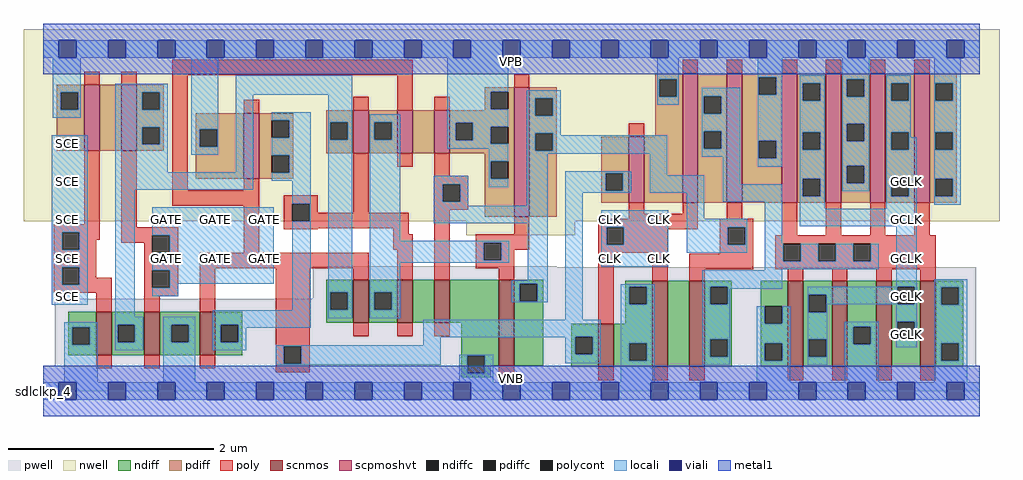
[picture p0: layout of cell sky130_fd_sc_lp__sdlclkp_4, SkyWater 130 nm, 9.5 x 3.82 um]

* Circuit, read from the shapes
.subckt sky130_fd_sc_lp__sdlclkp_4 CLK GATE SCE VGND VNB VPB VPWR GCLK
XM1 n1 SCE VGND VNB sky130_fd_pr__nfet_01v8 w=0.42 l=0.15
XM2 VGND GATE n1 VNB sky130_fd_pr__nfet_01v8 w=0.42 l=0.15
XM3 n2 n3 VGND VNB sky130_fd_pr__nfet_01v8 w=0.42 l=0.15
XM4 n4 n3 n1 VNB sky130_fd_pr__nfet_01v8 w=0.42 l=0.15
XM5 n5 n2 n4 VNB sky130_fd_pr__nfet_01v8 w=0.42 l=0.15
XM6 VGND n6 n5 VNB sky130_fd_pr__nfet_01v8 w=0.42 l=0.15
XM7 n6 n4 VGND VNB sky130_fd_pr__nfet_01v8 w=0.84 l=0.15
XM8 VGND CLK n3 VNB sky130_fd_pr__nfet_01v8 w=0.42 l=0.15
XM9 n7 CLK VGND VNB sky130_fd_pr__nfet_01v8 w=0.84 l=0.15
XM10 n8 n6 n7 VNB sky130_fd_pr__nfet_01v8 w=0.84 l=0.15
XM11 GCLK n8 VGND VNB sky130_fd_pr__nfet_01v8 w=0.84 l=0.15 m=4
XM12 n9 SCE VPWR VPB sky130_fd_pr__pfet_01v8_hvt w=0.64 l=0.15
XM13 n1 GATE n9 VPB sky130_fd_pr__pfet_01v8_hvt w=0.64 l=0.15
XM14 n2 n3 VPWR VPB sky130_fd_pr__pfet_01v8_hvt w=0.64 l=0.15
XM15 n4 n2 n1 VPB sky130_fd_pr__pfet_01v8_hvt w=0.42 l=0.15
XM16 n10 n3 n4 VPB sky130_fd_pr__pfet_01v8_hvt w=0.42 l=0.15
XM17 VPWR n6 n10 VPB sky130_fd_pr__pfet_01v8_hvt w=0.42 l=0.15
XM18 n6 n4 VPWR VPB sky130_fd_pr__pfet_01v8_hvt w=1.26 l=0.15
XM19 VPWR CLK n3 VPB sky130_fd_pr__pfet_01v8_hvt w=0.64 l=0.15
XM20 n8 CLK VPWR VPB sky130_fd_pr__pfet_01v8_hvt w=1.26 l=0.15
XM21 VPWR n6 n8 VPB sky130_fd_pr__pfet_01v8_hvt w=1.26 l=0.15
XM22 GCLK n8 VPWR VPB sky130_fd_pr__pfet_01v8_hvt w=1.26 l=0.15 m=4
.ends

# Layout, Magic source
magic
tech sky130A
magscale 1 2
<< nwell >>
rect -38 331 1862 704
rect 824 303 1036 331
<< pwell >>
rect 525 241 1000 243
rect 525 180 1817 241
rect 23 49 1817 180
rect 0 0 1824 49
<< scnmos >>
rect 104 70 134 154
rect 197 70 227 154
rect 305 70 335 154
rect 604 133 634 217
rect 690 133 720 217
rect 762 133 792 217
rect 887 49 917 217
rect 1081 47 1111 131
rect 1186 47 1216 215
rect 1258 47 1288 215
rect 1450 47 1480 215
rect 1536 47 1566 215
rect 1622 47 1652 215
rect 1708 47 1738 215
<< scpmoshvt >>
rect 80 468 110 596
rect 152 468 182 596
rect 391 413 421 541
rect 604 463 634 547
rect 690 463 720 547
rect 762 463 792 547
rect 917 339 947 591
rect 1140 367 1170 495
rect 1245 367 1275 619
rect 1331 367 1361 619
rect 1438 367 1468 619
rect 1524 367 1554 619
rect 1610 367 1640 619
rect 1696 367 1726 619
<< ndiff >>
rect 49 124 104 154
rect 49 90 57 124
rect 91 90 104 124
rect 49 70 104 90
rect 134 129 197 154
rect 134 95 145 129
rect 179 95 197 129
rect 134 70 197 95
rect 227 129 305 154
rect 227 95 250 129
rect 284 95 305 129
rect 227 70 305 95
rect 335 129 388 154
rect 335 95 346 129
rect 380 95 388 129
rect 335 70 388 95
rect 551 192 604 217
rect 551 158 559 192
rect 593 158 604 192
rect 551 133 604 158
rect 634 192 690 217
rect 634 158 645 192
rect 679 158 690 192
rect 634 133 690 158
rect 720 133 762 217
rect 792 133 887 217
rect 814 69 887 133
rect 814 35 826 69
rect 860 49 887 69
rect 917 209 974 217
rect 917 175 928 209
rect 962 175 974 209
rect 917 49 974 175
rect 1133 203 1186 215
rect 1133 169 1141 203
rect 1175 169 1186 203
rect 1133 131 1186 169
rect 1028 106 1081 131
rect 1028 72 1036 106
rect 1070 72 1081 106
rect 860 35 872 49
rect 814 27 872 35
rect 1028 47 1081 72
rect 1111 93 1186 131
rect 1111 59 1141 93
rect 1175 59 1186 93
rect 1111 47 1186 59
rect 1216 47 1258 215
rect 1288 203 1341 215
rect 1288 169 1299 203
rect 1333 169 1341 203
rect 1288 101 1341 169
rect 1288 67 1299 101
rect 1333 67 1341 101
rect 1288 47 1341 67
rect 1397 165 1450 215
rect 1397 131 1405 165
rect 1439 131 1450 165
rect 1397 93 1450 131
rect 1397 59 1405 93
rect 1439 59 1450 93
rect 1397 47 1450 59
rect 1480 187 1536 215
rect 1480 153 1491 187
rect 1525 153 1536 187
rect 1480 101 1536 153
rect 1480 67 1491 101
rect 1525 67 1536 101
rect 1480 47 1536 67
rect 1566 125 1622 215
rect 1566 91 1577 125
rect 1611 91 1622 125
rect 1566 47 1622 91
rect 1652 203 1708 215
rect 1652 169 1663 203
rect 1697 169 1708 203
rect 1652 135 1708 169
rect 1652 101 1663 135
rect 1697 101 1708 135
rect 1652 47 1708 101
rect 1738 202 1791 215
rect 1738 168 1749 202
rect 1783 168 1791 202
rect 1738 93 1791 168
rect 1738 59 1749 93
rect 1783 59 1791 93
rect 1738 47 1791 59
<< pdiff >>
rect 27 582 80 596
rect 27 548 35 582
rect 69 548 80 582
rect 27 468 80 548
rect 110 468 152 596
rect 182 582 235 596
rect 182 548 193 582
rect 227 548 235 582
rect 182 514 235 548
rect 182 480 193 514
rect 227 480 235 514
rect 182 468 235 480
rect 1192 607 1245 619
rect 860 583 917 591
rect 860 549 872 583
rect 906 549 917 583
rect 860 547 917 549
rect 297 510 391 541
rect 297 476 305 510
rect 339 476 391 510
rect 297 413 391 476
rect 421 527 487 541
rect 421 493 445 527
rect 479 493 487 527
rect 421 459 487 493
rect 551 523 604 547
rect 551 489 559 523
rect 593 489 604 523
rect 551 463 604 489
rect 634 523 690 547
rect 634 489 645 523
rect 679 489 690 523
rect 634 463 690 489
rect 720 463 762 547
rect 792 522 917 547
rect 792 488 803 522
rect 837 515 917 522
rect 837 488 872 515
rect 792 481 872 488
rect 906 481 917 515
rect 792 463 917 481
rect 421 425 445 459
rect 479 425 487 459
rect 421 413 487 425
rect 860 447 917 463
rect 860 413 872 447
rect 906 413 917 447
rect 860 339 917 413
rect 947 570 1000 591
rect 947 536 958 570
rect 992 536 1000 570
rect 947 502 1000 536
rect 1192 573 1200 607
rect 1234 573 1245 607
rect 947 468 958 502
rect 992 468 1000 502
rect 1192 495 1245 573
rect 947 339 1000 468
rect 1087 424 1140 495
rect 1087 390 1095 424
rect 1129 390 1140 424
rect 1087 367 1140 390
rect 1170 367 1245 495
rect 1275 574 1331 619
rect 1275 540 1286 574
rect 1320 540 1331 574
rect 1275 506 1331 540
rect 1275 472 1286 506
rect 1320 472 1331 506
rect 1275 367 1331 472
rect 1361 611 1438 619
rect 1361 577 1393 611
rect 1427 577 1438 611
rect 1361 487 1438 577
rect 1361 453 1393 487
rect 1427 453 1438 487
rect 1361 367 1438 453
rect 1468 599 1524 619
rect 1468 565 1479 599
rect 1513 565 1524 599
rect 1468 504 1524 565
rect 1468 470 1479 504
rect 1513 470 1524 504
rect 1468 413 1524 470
rect 1468 379 1479 413
rect 1513 379 1524 413
rect 1468 367 1524 379
rect 1554 607 1610 619
rect 1554 573 1565 607
rect 1599 573 1610 607
rect 1554 520 1610 573
rect 1554 486 1565 520
rect 1599 486 1610 520
rect 1554 439 1610 486
rect 1554 405 1565 439
rect 1599 405 1610 439
rect 1554 367 1610 405
rect 1640 599 1696 619
rect 1640 565 1651 599
rect 1685 565 1696 599
rect 1640 504 1696 565
rect 1640 470 1651 504
rect 1685 470 1696 504
rect 1640 413 1696 470
rect 1640 379 1651 413
rect 1685 379 1696 413
rect 1640 367 1696 379
rect 1726 599 1779 619
rect 1726 565 1737 599
rect 1771 565 1779 599
rect 1726 504 1779 565
rect 1726 470 1737 504
rect 1771 470 1779 504
rect 1726 413 1779 470
rect 1726 379 1737 413
rect 1771 379 1779 413
rect 1726 367 1779 379
<< ndiffc >>
rect 57 90 91 124
rect 145 95 179 129
rect 250 95 284 129
rect 346 95 380 129
rect 559 158 593 192
rect 645 158 679 192
rect 826 35 860 69
rect 928 175 962 209
rect 1141 169 1175 203
rect 1036 72 1070 106
rect 1141 59 1175 93
rect 1299 169 1333 203
rect 1299 67 1333 101
rect 1405 131 1439 165
rect 1405 59 1439 93
rect 1491 153 1525 187
rect 1491 67 1525 101
rect 1577 91 1611 125
rect 1663 169 1697 203
rect 1663 101 1697 135
rect 1749 168 1783 202
rect 1749 59 1783 93
<< pdiffc >>
rect 35 548 69 582
rect 193 548 227 582
rect 193 480 227 514
rect 872 549 906 583
rect 305 476 339 510
rect 445 493 479 527
rect 559 489 593 523
rect 645 489 679 523
rect 803 488 837 522
rect 872 481 906 515
rect 445 425 479 459
rect 872 413 906 447
rect 958 536 992 570
rect 1200 573 1234 607
rect 958 468 992 502
rect 1095 390 1129 424
rect 1286 540 1320 574
rect 1286 472 1320 506
rect 1393 577 1427 611
rect 1393 453 1427 487
rect 1479 565 1513 599
rect 1479 470 1513 504
rect 1479 379 1513 413
rect 1565 573 1599 607
rect 1565 486 1599 520
rect 1565 405 1599 439
rect 1651 565 1685 599
rect 1651 470 1685 504
rect 1651 379 1685 413
rect 1737 565 1771 599
rect 1737 470 1771 504
rect 1737 379 1771 413
<< poly >>
rect 80 596 110 622
rect 152 596 182 622
rect 252 615 720 645
rect 1245 619 1275 645
rect 1331 619 1361 645
rect 1438 619 1468 645
rect 1524 619 1554 645
rect 1610 619 1640 645
rect 1696 619 1726 645
rect 80 325 110 468
rect 21 309 110 325
rect 21 275 37 309
rect 71 295 110 309
rect 152 319 182 468
rect 252 391 282 615
rect 391 541 421 567
rect 604 547 634 573
rect 690 547 720 615
rect 917 591 947 617
rect 762 547 792 573
rect 391 391 421 413
rect 252 361 421 391
rect 152 303 263 319
rect 71 275 104 295
rect 152 289 213 303
rect 21 241 104 275
rect 21 207 37 241
rect 71 221 104 241
rect 197 269 213 289
rect 247 269 263 303
rect 391 269 421 361
rect 469 365 535 381
rect 469 331 485 365
rect 519 347 535 365
rect 604 347 634 463
rect 690 437 720 463
rect 762 419 792 463
rect 762 403 828 419
rect 762 369 778 403
rect 812 369 828 403
rect 762 353 828 369
rect 519 331 712 347
rect 469 317 712 331
rect 469 315 535 317
rect 682 305 712 317
rect 682 275 720 305
rect 197 235 263 269
rect 71 207 134 221
rect 21 191 134 207
rect 104 154 134 191
rect 197 201 213 235
rect 247 201 263 235
rect 197 185 263 201
rect 305 239 634 269
rect 197 154 227 185
rect 305 154 335 239
rect 453 87 519 239
rect 604 217 634 239
rect 690 217 720 275
rect 762 217 792 353
rect 1140 495 1170 521
rect 1140 345 1170 367
rect 1245 345 1275 367
rect 917 305 947 339
rect 1140 335 1275 345
rect 1331 335 1361 367
rect 842 289 947 305
rect 842 255 858 289
rect 892 275 947 289
rect 1081 319 1275 335
rect 1081 285 1097 319
rect 1131 315 1275 319
rect 1317 319 1383 335
rect 1131 285 1216 315
rect 892 255 917 275
rect 842 239 917 255
rect 887 217 917 239
rect 1081 269 1216 285
rect 604 107 634 133
rect 690 107 720 133
rect 762 107 792 133
rect 104 44 134 70
rect 197 44 227 70
rect 305 44 335 70
rect 453 53 469 87
rect 503 53 519 87
rect 453 37 519 53
rect 1081 131 1111 269
rect 1186 215 1216 269
rect 1317 285 1333 319
rect 1367 285 1383 319
rect 1438 303 1468 367
rect 1524 303 1554 367
rect 1610 303 1640 367
rect 1696 303 1726 367
rect 1317 267 1383 285
rect 1258 237 1383 267
rect 1425 287 1738 303
rect 1425 253 1441 287
rect 1475 253 1509 287
rect 1543 253 1577 287
rect 1611 253 1738 287
rect 1425 237 1738 253
rect 1258 215 1288 237
rect 1450 215 1480 237
rect 1536 215 1566 237
rect 1622 215 1652 237
rect 1708 215 1738 237
rect 887 23 917 49
rect 1081 21 1111 47
rect 1186 21 1216 47
rect 1258 21 1288 47
rect 1450 21 1480 47
rect 1536 21 1566 47
rect 1622 21 1652 47
rect 1708 21 1738 47
<< polycont >>
rect 37 275 71 309
rect 37 207 71 241
rect 213 269 247 303
rect 485 331 519 365
rect 778 369 812 403
rect 213 201 247 235
rect 858 255 892 289
rect 1097 285 1131 319
rect 469 53 503 87
rect 1333 285 1367 319
rect 1441 253 1475 287
rect 1509 253 1543 287
rect 1577 253 1611 287
<< locali >>
rect 0 649 31 683
rect 65 649 127 683
rect 161 649 223 683
rect 257 649 319 683
rect 353 649 415 683
rect 449 649 511 683
rect 545 649 607 683
rect 641 649 703 683
rect 737 649 799 683
rect 833 649 895 683
rect 929 649 991 683
rect 1025 649 1087 683
rect 1121 649 1183 683
rect 1217 649 1279 683
rect 1313 649 1375 683
rect 1409 649 1471 683
rect 1505 649 1567 683
rect 1601 649 1663 683
rect 1697 649 1759 683
rect 1793 649 1824 683
rect 19 582 73 649
rect 19 548 35 582
rect 69 548 73 582
rect 19 532 73 548
rect 141 582 243 598
rect 141 548 193 582
rect 227 548 243 582
rect 141 514 243 548
rect 17 309 87 498
rect 17 275 37 309
rect 71 275 87 309
rect 17 241 87 275
rect 17 207 37 241
rect 71 207 87 241
rect 17 168 87 207
rect 141 480 193 514
rect 227 480 243 514
rect 141 426 243 480
rect 289 510 341 649
rect 289 476 305 510
rect 339 476 341 510
rect 289 460 341 476
rect 375 577 602 615
rect 375 426 409 577
rect 141 392 409 426
rect 445 527 521 543
rect 479 493 521 527
rect 445 459 521 493
rect 479 425 521 459
rect 445 409 521 425
rect 141 145 179 392
rect 485 365 521 409
rect 213 303 449 358
rect 247 269 449 303
rect 213 235 449 269
rect 247 209 449 235
rect 519 331 521 365
rect 247 201 263 209
rect 213 185 263 201
rect 485 157 521 331
rect 41 124 107 134
rect 41 90 57 124
rect 91 90 107 124
rect 41 17 107 90
rect 141 129 195 145
rect 141 95 145 129
rect 179 95 195 129
rect 141 79 195 95
rect 234 129 296 145
rect 234 95 250 129
rect 284 95 296 129
rect 234 17 296 95
rect 330 129 521 157
rect 555 523 602 577
rect 787 583 906 649
rect 1196 607 1238 649
rect 787 549 872 583
rect 555 489 559 523
rect 593 489 602 523
rect 555 192 602 489
rect 555 158 559 192
rect 593 158 602 192
rect 555 142 602 158
rect 636 523 695 539
rect 636 489 645 523
rect 679 489 695 523
rect 636 293 695 489
rect 787 522 906 549
rect 787 488 803 522
rect 837 515 906 522
rect 837 488 872 515
rect 787 481 872 488
rect 787 472 906 481
rect 868 447 906 472
rect 761 403 828 419
rect 761 369 778 403
rect 812 369 828 403
rect 868 413 872 447
rect 868 397 906 413
rect 942 570 1008 586
rect 942 536 958 570
rect 992 536 1008 570
rect 1196 573 1200 607
rect 1234 573 1238 607
rect 1391 611 1439 649
rect 1196 557 1238 573
rect 1282 574 1357 590
rect 942 502 1008 536
rect 942 468 958 502
rect 992 498 1008 502
rect 1282 540 1286 574
rect 1320 540 1357 574
rect 1282 506 1357 540
rect 992 468 1215 498
rect 942 462 1215 468
rect 761 361 828 369
rect 942 361 983 462
rect 761 327 983 361
rect 636 289 908 293
rect 636 255 858 289
rect 892 255 908 289
rect 636 250 908 255
rect 636 192 695 250
rect 944 216 983 327
rect 636 158 645 192
rect 679 158 695 192
rect 912 209 983 216
rect 912 175 928 209
rect 962 175 983 209
rect 912 173 983 175
rect 1017 424 1145 428
rect 1017 390 1095 424
rect 1129 390 1145 424
rect 1017 386 1145 390
rect 1181 420 1215 462
rect 1282 472 1286 506
rect 1320 472 1357 506
rect 1282 456 1357 472
rect 1181 386 1287 420
rect 636 142 695 158
rect 1017 139 1051 386
rect 1087 319 1217 352
rect 1087 285 1097 319
rect 1131 285 1217 319
rect 1087 242 1217 285
rect 1253 335 1287 386
rect 1323 403 1357 456
rect 1391 577 1393 611
rect 1427 577 1439 611
rect 1391 487 1439 577
rect 1391 453 1393 487
rect 1427 453 1439 487
rect 1391 437 1439 453
rect 1473 599 1522 615
rect 1473 565 1479 599
rect 1513 565 1522 599
rect 1473 504 1522 565
rect 1473 470 1479 504
rect 1513 470 1522 504
rect 1473 413 1522 470
rect 1323 369 1439 403
rect 1253 319 1371 335
rect 1253 285 1333 319
rect 1367 285 1371 319
rect 1253 269 1371 285
rect 1405 287 1439 369
rect 1473 379 1479 413
rect 1513 379 1522 413
rect 1556 607 1608 649
rect 1556 573 1565 607
rect 1599 573 1608 607
rect 1556 520 1608 573
rect 1556 486 1565 520
rect 1599 486 1608 520
rect 1556 439 1608 486
rect 1556 405 1565 439
rect 1599 405 1608 439
rect 1556 389 1608 405
rect 1642 599 1689 615
rect 1642 565 1651 599
rect 1685 565 1689 599
rect 1642 504 1689 565
rect 1642 470 1651 504
rect 1685 494 1689 504
rect 1735 599 1787 649
rect 1735 565 1737 599
rect 1771 565 1787 599
rect 1735 504 1787 565
rect 1685 470 1701 494
rect 1642 413 1701 470
rect 1473 355 1522 379
rect 1642 379 1651 413
rect 1685 379 1701 413
rect 1642 355 1701 379
rect 1735 470 1737 504
rect 1771 470 1787 504
rect 1735 413 1787 470
rect 1735 379 1737 413
rect 1771 379 1787 413
rect 1735 363 1787 379
rect 1473 321 1701 355
rect 1405 253 1441 287
rect 1475 253 1509 287
rect 1543 253 1577 287
rect 1611 253 1627 287
rect 1405 237 1627 253
rect 1405 235 1439 237
rect 1125 203 1191 208
rect 1125 169 1141 203
rect 1175 169 1191 203
rect 330 95 346 129
rect 380 123 521 129
rect 380 95 396 123
rect 330 79 396 95
rect 740 106 1086 139
rect 740 105 1036 106
rect 740 89 774 105
rect 453 87 774 89
rect 453 53 469 87
rect 503 53 774 87
rect 1017 72 1036 105
rect 1070 72 1086 106
rect 453 51 774 53
rect 810 69 876 71
rect 810 35 826 69
rect 860 35 876 69
rect 1017 54 1086 72
rect 1125 93 1191 169
rect 1125 59 1141 93
rect 1175 59 1191 93
rect 810 17 876 35
rect 1125 17 1191 59
rect 1283 203 1439 235
rect 1661 203 1701 321
rect 1283 169 1299 203
rect 1333 199 1439 203
rect 1333 169 1337 199
rect 1283 101 1337 169
rect 1489 187 1663 203
rect 1283 67 1299 101
rect 1333 67 1337 101
rect 1283 51 1337 67
rect 1389 131 1405 165
rect 1439 131 1455 165
rect 1389 93 1455 131
rect 1389 59 1405 93
rect 1439 59 1455 93
rect 1389 17 1455 59
rect 1489 153 1491 187
rect 1525 169 1663 187
rect 1697 169 1701 203
rect 1525 153 1527 169
rect 1489 101 1527 153
rect 1661 135 1701 169
rect 1489 67 1491 101
rect 1525 67 1527 101
rect 1489 51 1527 67
rect 1561 125 1627 135
rect 1561 91 1577 125
rect 1611 91 1627 125
rect 1561 17 1627 91
rect 1661 101 1663 135
rect 1697 101 1701 135
rect 1661 85 1701 101
rect 1735 202 1799 218
rect 1735 168 1749 202
rect 1783 168 1799 202
rect 1735 93 1799 168
rect 1735 59 1749 93
rect 1783 59 1799 93
rect 1735 17 1799 59
rect 0 -17 31 17
rect 65 -17 127 17
rect 161 -17 223 17
rect 257 -17 319 17
rect 353 -17 415 17
rect 449 -17 511 17
rect 545 -17 607 17
rect 641 -17 703 17
rect 737 -17 799 17
rect 833 -17 895 17
rect 929 -17 991 17
rect 1025 -17 1087 17
rect 1121 -17 1183 17
rect 1217 -17 1279 17
rect 1313 -17 1375 17
rect 1409 -17 1471 17
rect 1505 -17 1567 17
rect 1601 -17 1663 17
rect 1697 -17 1759 17
rect 1793 -17 1824 17
<< viali >>
rect 31 649 65 683
rect 127 649 161 683
rect 223 649 257 683
rect 319 649 353 683
rect 415 649 449 683
rect 511 649 545 683
rect 607 649 641 683
rect 703 649 737 683
rect 799 649 833 683
rect 895 649 929 683
rect 991 649 1025 683
rect 1087 649 1121 683
rect 1183 649 1217 683
rect 1279 649 1313 683
rect 1375 649 1409 683
rect 1471 649 1505 683
rect 1567 649 1601 683
rect 1663 649 1697 683
rect 1759 649 1793 683
rect 31 -17 65 17
rect 127 -17 161 17
rect 223 -17 257 17
rect 319 -17 353 17
rect 415 -17 449 17
rect 511 -17 545 17
rect 607 -17 641 17
rect 703 -17 737 17
rect 799 -17 833 17
rect 895 -17 929 17
rect 991 -17 1025 17
rect 1087 -17 1121 17
rect 1183 -17 1217 17
rect 1279 -17 1313 17
rect 1375 -17 1409 17
rect 1471 -17 1505 17
rect 1567 -17 1601 17
rect 1663 -17 1697 17
rect 1759 -17 1793 17
<< metal1 >>
rect 0 683 1824 715
rect 0 649 31 683
rect 65 649 127 683
rect 161 649 223 683
rect 257 649 319 683
rect 353 649 415 683
rect 449 649 511 683
rect 545 649 607 683
rect 641 649 703 683
rect 737 649 799 683
rect 833 649 895 683
rect 929 649 991 683
rect 1025 649 1087 683
rect 1121 649 1183 683
rect 1217 649 1279 683
rect 1313 649 1375 683
rect 1409 649 1471 683
rect 1505 649 1567 683
rect 1601 649 1663 683
rect 1697 649 1759 683
rect 1793 649 1824 683
rect 0 617 1824 649
rect 0 17 1824 49
rect 0 -17 31 17
rect 65 -17 127 17
rect 161 -17 223 17
rect 257 -17 319 17
rect 353 -17 415 17
rect 449 -17 511 17
rect 545 -17 607 17
rect 641 -17 703 17
rect 737 -17 799 17
rect 833 -17 895 17
rect 929 -17 991 17
rect 1025 -17 1087 17
rect 1121 -17 1183 17
rect 1217 -17 1279 17
rect 1313 -17 1375 17
rect 1409 -17 1471 17
rect 1505 -17 1567 17
rect 1601 -17 1663 17
rect 1697 -17 1759 17
rect 1793 -17 1824 17
rect 0 -49 1824 -17
<< labels >>
flabel pwell s 0 0 1824 49 0 FreeSans 200 0 0 0 VNB
port 5 nsew ground bidirectional
flabel nwell s 0 617 1824 666 0 FreeSans 200 0 0 0 VPB
port 6 nsew power bidirectional
rlabel comment s 0 0 0 0 4 sdlclkp_4
flabel metal1 s 0 617 1824 666 0 FreeSans 340 0 0 0 VPWR
port 7 nsew power bidirectional
flabel metal1 s 0 0 1824 49 0 FreeSans 340 0 0 0 VGND
port 4 nsew ground bidirectional
flabel locali s 1663 94 1697 128 0 FreeSans 340 0 0 0 GCLK
port 8 nsew signal output
flabel locali s 1663 168 1697 202 0 FreeSans 340 0 0 0 GCLK
port 8 nsew signal output
flabel locali s 1663 242 1697 276 0 FreeSans 340 0 0 0 GCLK
port 8 nsew signal output
flabel locali s 1663 316 1697 350 0 FreeSans 340 0 0 0 GCLK
port 8 nsew signal output
flabel locali s 1663 390 1697 424 0 FreeSans 340 0 0 0 GCLK
port 8 nsew signal output
flabel locali s 1087 242 1121 276 0 FreeSans 340 0 0 0 CLK
port 1 nsew clock input
flabel locali s 1087 316 1121 350 0 FreeSans 340 0 0 0 CLK
port 1 nsew clock input
flabel locali s 1183 242 1217 276 0 FreeSans 340 0 0 0 CLK
port 1 nsew clock input
flabel locali s 1183 316 1217 350 0 FreeSans 340 0 0 0 CLK
port 1 nsew clock input
flabel locali s 223 242 257 276 0 FreeSans 340 0 0 0 GATE
port 2 nsew signal input
flabel locali s 223 316 257 350 0 FreeSans 340 0 0 0 GATE
port 2 nsew signal input
flabel locali s 319 242 353 276 0 FreeSans 340 0 0 0 GATE
port 2 nsew signal input
flabel locali s 319 316 353 350 0 FreeSans 340 0 0 0 GATE
port 2 nsew signal input
flabel locali s 415 242 449 276 0 FreeSans 340 0 0 0 GATE
port 2 nsew signal input
flabel locali s 415 316 449 350 0 FreeSans 340 0 0 0 GATE
port 2 nsew signal input
flabel locali s 31 168 65 202 0 FreeSans 340 0 0 0 SCE
port 3 nsew signal input
flabel locali s 31 242 65 276 0 FreeSans 340 0 0 0 SCE
port 3 nsew signal input
flabel locali s 31 316 65 350 0 FreeSans 340 0 0 0 SCE
port 3 nsew signal input
flabel locali s 31 390 65 424 0 FreeSans 340 0 0 0 SCE
port 3 nsew signal input
flabel locali s 31 464 65 498 0 FreeSans 340 0 0 0 SCE
port 3 nsew signal input
<< properties >>
string LEFsite unit
string LEFclass CORE
string FIXED_BBOX 0 0 1824 666
string GDS_FILE $PDKPATH/libs.ref/sky130_fd_sc_lp/gds/sky130_fd_sc_lp.gds
string LEFsymmetry X Y R90
string GDS_END 1438542
string GDS_START 1423582
<< end >>
